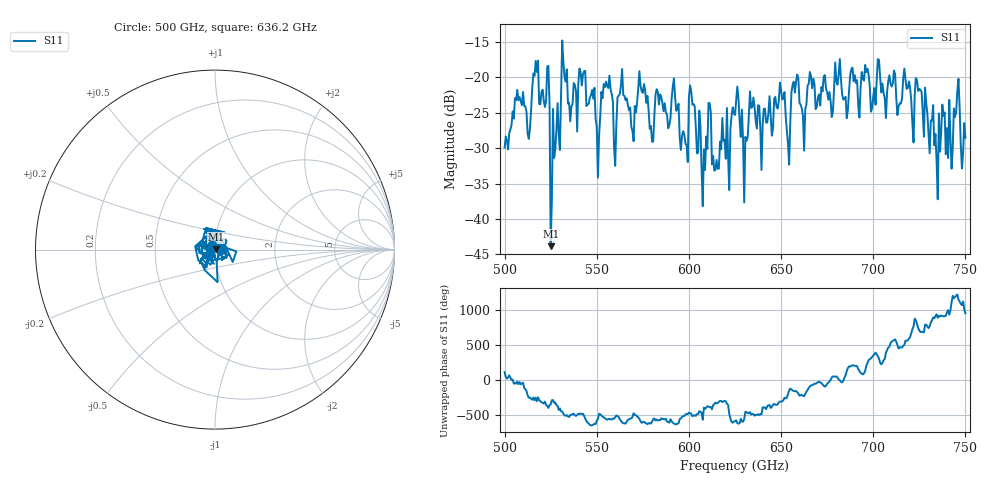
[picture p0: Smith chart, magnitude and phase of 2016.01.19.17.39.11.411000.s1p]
!Created with skrf (http://scikit-rf.org).
# GHz S RI R 50.0
!freq ReS11 ImS11
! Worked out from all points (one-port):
!   401 points, 500 GHz to 750 GHz, reference 50 ohm
!   lowest |S11| = -43.8 dB at 525 GHz (marker M1), VSWR 1.01, Z = 50.6 + j0.167 ohm
!   |S11| at or under -10 dB: start of sweep to end of sweep
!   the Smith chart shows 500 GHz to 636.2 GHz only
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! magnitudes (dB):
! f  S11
! 500 GHz  -29.9
! 506.9 GHz  -21.8
! 513.1 GHz  -28.7
! 516.9 GHz  -17.7
! 523.1 GHz  -18.5
! 525 GHz  -43.8
! 526.2 GHz  -24.5
! 531.2 GHz  -14.8
! 542.5 GHz  -19.6
! 550.6 GHz  -34.2
! 562.5 GHz  -22.4
! 593.8 GHz  -24.3
! 598.1 GHz  -29.4
! 601.9 GHz  -23.9
! 608.1 GHz  -30.2
! 610.6 GHz  -23.6
! 615 GHz  -31.7
! 625 GHz  -25.3
! 630.6 GHz  -28.4
! 634.4 GHz  -24.2
! 650.6 GHz  -23.1
! 653.8 GHz  -29.3
! 656.2 GHz  -21.1
! 687.5 GHz  -19.6
! 718.8 GHz  -21.5
! 735 GHz  -37.2
! 745 GHz  -24.9
! 750 GHz  -28.5
